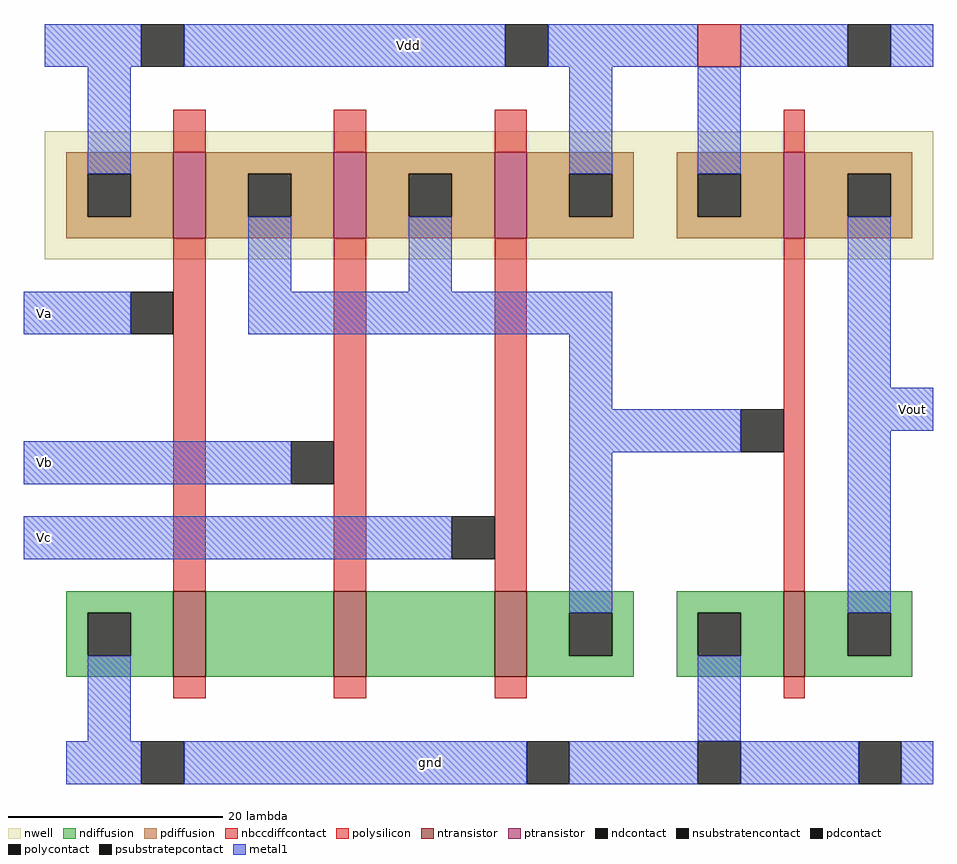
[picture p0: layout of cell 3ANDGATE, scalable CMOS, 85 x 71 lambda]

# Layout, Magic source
magic
tech scmos
<< nwell >>
rect 16 50 99 62
<< polysilicon >>
rect 28 60 31 64
rect 43 60 46 64
rect 58 60 61 64
rect 85 60 87 64
rect 28 19 31 52
rect 43 19 46 52
rect 58 19 61 52
rect 85 19 87 52
rect 28 9 31 11
rect 43 9 46 11
rect 58 9 61 11
rect 85 9 87 11
<< ndiffusion >>
rect 18 17 28 19
rect 18 13 20 17
rect 24 13 28 17
rect 18 11 28 13
rect 31 11 43 19
rect 46 11 58 19
rect 61 17 71 19
rect 61 13 65 17
rect 69 13 71 17
rect 61 11 71 13
rect 75 17 85 19
rect 75 13 77 17
rect 81 13 85 17
rect 75 11 85 13
rect 87 17 97 19
rect 87 13 91 17
rect 95 13 97 17
rect 87 11 97 13
<< pdiffusion >>
rect 18 58 28 60
rect 18 54 20 58
rect 24 54 28 58
rect 18 52 28 54
rect 31 58 43 60
rect 31 54 35 58
rect 39 54 43 58
rect 31 52 43 54
rect 46 58 58 60
rect 46 54 50 58
rect 54 54 58 58
rect 46 52 58 54
rect 61 58 71 60
rect 61 54 65 58
rect 69 54 71 58
rect 61 52 71 54
rect 75 58 85 60
rect 75 54 77 58
rect 81 54 85 58
rect 75 52 85 54
rect 87 58 97 60
rect 87 54 91 58
rect 95 54 97 58
rect 87 52 97 54
<< metal1 >>
rect 16 68 25 72
rect 29 68 59 72
rect 63 68 77 72
rect 81 68 91 72
rect 95 68 99 72
rect 20 58 24 68
rect 65 58 69 68
rect 35 47 39 54
rect 77 58 81 68
rect 50 47 54 54
rect 14 43 24 47
rect 35 43 69 47
rect 65 36 69 43
rect 91 38 95 54
rect 14 29 39 33
rect 65 32 81 36
rect 91 34 99 38
rect 14 22 54 26
rect 65 17 69 32
rect 91 17 95 34
rect 20 5 24 13
rect 77 5 81 13
rect 18 1 25 5
rect 29 1 61 5
rect 65 1 77 5
rect 81 1 92 5
rect 96 1 99 5
<< ntransistor >>
rect 28 11 31 19
rect 43 11 46 19
rect 58 11 61 19
rect 85 11 87 19
<< ptransistor >>
rect 28 52 31 60
rect 43 52 46 60
rect 58 52 61 60
rect 85 52 87 60
<< polycontact >>
rect 24 43 28 47
rect 39 29 43 33
rect 54 22 58 26
rect 81 32 85 36
<< ndcontact >>
rect 20 13 24 17
rect 65 13 69 17
rect 77 13 81 17
rect 91 13 95 17
<< pdcontact >>
rect 20 54 24 58
rect 35 54 39 58
rect 50 54 54 58
rect 65 54 69 58
rect 77 54 81 58
rect 91 54 95 58
<< nbccdiffcontact >>
rect 77 68 81 72
<< psubstratepcontact >>
rect 25 1 29 5
rect 61 1 65 5
rect 77 1 81 5
rect 92 1 96 5
<< nsubstratencontact >>
rect 25 68 29 72
rect 59 68 63 72
rect 91 68 95 72
<< labels >>
rlabel metal1 52 3 52 3 1 gnd
rlabel metal1 50 70 50 70 5 Vdd
rlabel metal1 97 36 97 36 7 Vout
rlabel metal1 16 45 16 45 3 Va
rlabel metal1 16 24 16 24 3 Vc
rlabel metal1 16 31 16 31 3 Vb
<< end >>
